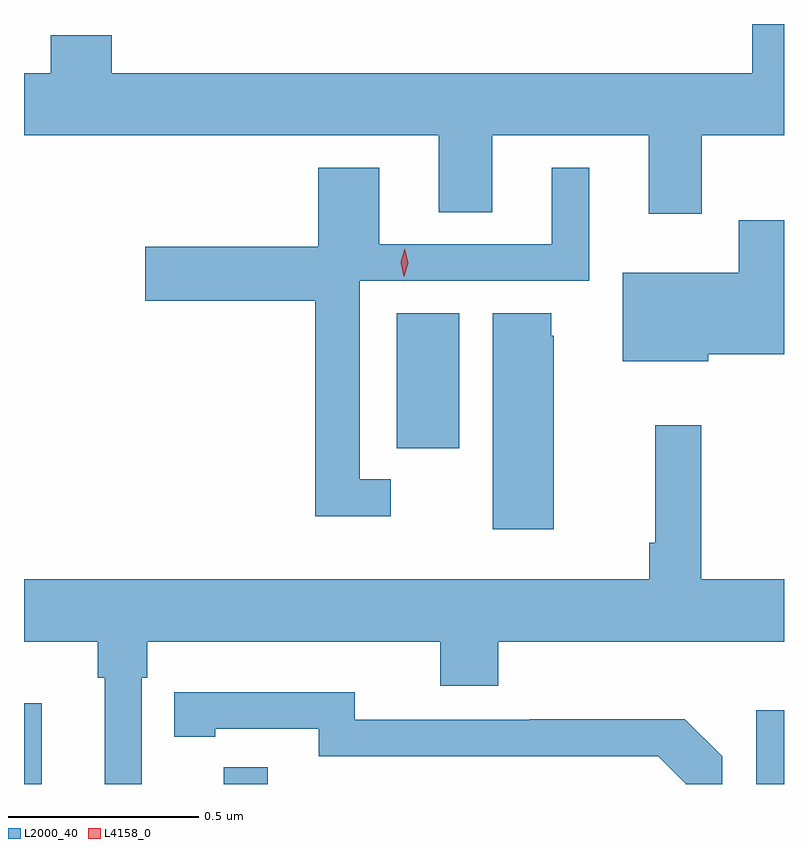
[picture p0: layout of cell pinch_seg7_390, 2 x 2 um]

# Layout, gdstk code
import gdstk
lib = gdstk.Library(unit=1e-6, precision=1e-09)
def R(c, l, rs):  # rectangles x0, y0, x1, y1
    for r in rs: c.add(gdstk.rectangle(r[:2], r[2:], *l))
def P(c, l, *ps):  # polygons
    for p in ps: c.add(gdstk.Polygon(p, *l))
L2000_40 = (2000, 40)
L4158_0 = (4158, 0)

pinch_seg7_390 = lib.new_cell('pinch_seg7_390')
R(pinch_seg7_390, L2000_40, [(373.475,1001.573,373.522,1001.785), (374,1001.573,374.117,1001.617), (375.402,1001.573,375.475,1001.767), (374.456,1002.456,374.62,1002.812)])
P(pinch_seg7_390, L2000_40, [(375.259,1003.28),(375.475,1003.28),(375.475,1003.573),(375.391,1003.573),(375.391,1003.444),(373.706,1003.444),(373.706,1003.543),(373.546,1003.543),(373.546,1003.444),(373.475,1003.444),(373.475,1003.28),(374.567,1003.28),(374.567,1003.078),(374.707,1003.078),(374.707,1003.28),(375.119,1003.28),(375.119,1003.074),(375.259,1003.074)],
  [(374.44,1002.375),(374.358,1002.375),(374.358,1002.897),(374.962,1002.897),(374.962,1003.195),(374.864,1003.195),(374.864,1002.993),(374.41,1002.993),(374.41,1003.195),(374.249,1003.195),(374.249,1002.987),(373.794,1002.987),(373.794,1002.845),(374.242,1002.845),(374.242,1002.278),(374.44,1002.278)],
  [(375.276,1002.704),(375.475,1002.704),(375.475,1003.057),(375.356,1003.057),(375.356,1002.919),(375.05,1002.919),(375.05,1002.686),(375.276,1002.686)],
  [(374.869,1002.753),(374.863,1002.753),(374.863,1002.812),(374.708,1002.812),(374.708,1002.243),(374.869,1002.243)],
  [(373.785,1001.852),(373.799,1001.852),(373.799,1001.948),(374.57,1001.948),(374.57,1001.831),(374.723,1001.831),(374.723,1001.948),(375.475,1001.948),(375.475,1002.112),(375.257,1002.112),(375.257,1002.517),(375.136,1002.517),(375.136,1002.208),(375.121,1002.208),(375.121,1002.112),(373.475,1002.112),(373.475,1001.948),(373.669,1001.948),(373.669,1001.852),(373.688,1001.852),(373.688,1001.573),(373.785,1001.573)],
  [(375.312,1001.646),(375.214,1001.744),(374.806,1001.744),(374.806,1001.742),(374.346,1001.742),(374.346,1001.815),(373.978,1001.815),(373.978,1001.814),(373.87,1001.814),(373.87,1001.698),(373.978,1001.698),(373.978,1001.718),(374.25,1001.718),(374.25,1001.646),(375.144,1001.646),(375.216,1001.574),(375.216,1001.573),(375.312,1001.573)])
P(pinch_seg7_390, L4158_0, [(374.474,1002.909),(374.474,1002.909),(374.466,1002.946),(374.477,1002.981),(374.477,1002.981),(374.477,1002.981),(374.486,1002.945),(374.475,1002.909)])

lib.write_gds('pinch_seg7_390.gds')
